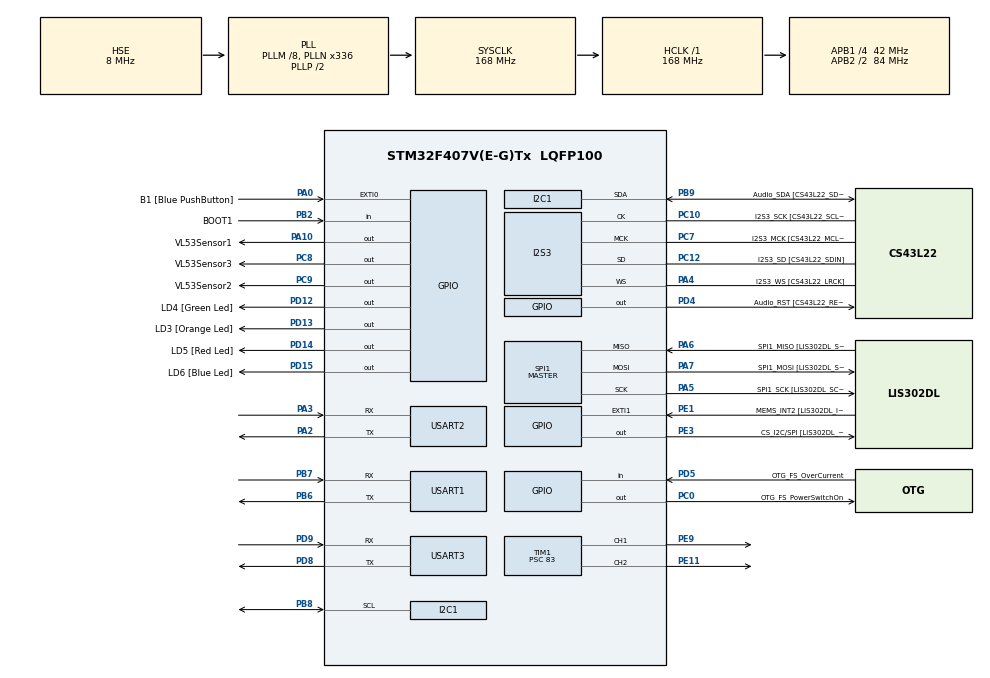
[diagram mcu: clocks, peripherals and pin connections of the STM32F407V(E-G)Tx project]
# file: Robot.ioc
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I2S3.AudioFreq-Half_Duplex_Master=I2S_AUDIOFREQ_96K
I2S3.ErrorAudioFreq=-2.34 %
I2S3.ErrorAudioFreq-Half_Duplex_Master=0.8 %
I2S3.FullDuplexMode=I2S_FULLDUPLEXMODE_DISABLE
I2S3.Instance=SPI$Index
I2S3.RealAudioFreq=93.75 KHz
I2S3.RealAudioFreq-Half_Duplex_Master=96.774 KHz
I2S3.VirtualMode=I2S_MODE_MASTER
Mcu.Family=STM32F4
Mcu.Name=STM32F407V(E-G)Tx
Mcu.Package=LQFP100
NVIC.PriorityGroup=NVIC_PRIORITYGROUP_0
PA0-WKUP.GPIO_Label=B1 [Blue PushButton]
PA0-WKUP.GPIO_ModeDefaultEXTI=GPIO_MODE_EVT_RISING
PA0-WKUP.GPIO_PuPd=GPIO_NOPULL
PA0-WKUP.Signal=GPXTI0
PA10.GPIO_Label=VL53Sensor1
PA10.Signal=GPIO_Output
PA13.Mode=Serial_Wire
PA13.Signal=SYS_JTMS-SWDIO
PA14.GPIO_Label=SWCLK
PA14.Mode=Serial_Wire
PA14.Signal=SYS_JTCK-SWCLK
PA2.Mode=Asynchronous
PA2.Signal=USART2_TX
PA3.Mode=Asynchronous
PA3.Signal=USART2_RX
PA4.GPIO_Label=I2S3_WS [CS43L22_LRCK]
PA4.GPIO_Mode=GPIO_MODE_AF_PP
PA4.GPIO_PuPd=GPIO_NOPULL
PA4.GPIO_Speed=GPIO_SPEED_FREQ_LOW
PA4.Mode=Half_Duplex_Master
PA4.Signal=I2S3_WS
PA5.GPIO_Label=SPI1_SCK [LIS302DL_SCL/SPC]
PA5.GPIO_Mode=GPIO_MODE_AF_PP
PA5.GPIO_PuPd=GPIO_NOPULL
PA5.GPIO_Speed=GPIO_SPEED_FREQ_LOW
PA5.Mode=Full_Duplex_Master
PA5.Signal=SPI1_SCK
PA6.GPIO_Label=SPI1_MISO [LIS302DL_SDO]
PA6.GPIO_Mode=GPIO_MODE_AF_PP
PA6.GPIO_PuPd=GPIO_NOPULL
PA6.GPIO_Speed=GPIO_SPEED_FREQ_LOW
PA6.Mode=Full_Duplex_Master
PA6.Signal=SPI1_MISO
PA7.GPIO_Label=SPI1_MOSI [LIS302DL_SDA/SDI/SDO]
PA7.GPIO_Mode=GPIO_MODE_AF_PP
PA7.GPIO_PuPd=GPIO_NOPULL
PA7.GPIO_Speed=GPIO_SPEED_FREQ_LOW
PA7.Mode=Full_Duplex_Master
PA7.Signal=SPI1_MOSI
PB10.GPIO_Label=CLK_IN [MP45DT02_CLK]
PB10.GPIO_Mode=GPIO_MODE_AF_PP
PB10.GPIO_PuPd=GPIO_NOPULL
PB10.GPIO_Speed=GPIO_SPEED_FREQ_LOW
PB10.Signal=I2S2_CK
PB2.GPIO_Label=BOOT1
PB2.GPIO_Mode=GPIO_MODE_INPUT
PB2.GPIO_PuPd=GPIO_NOPULL
PB2.Signal=GPIO_Input
PB3.GPIO_Label=SWO
PB3.Signal=SYS_JTDO-SWO
PB6.Mode=Asynchronous
PB6.Signal=USART1_TX
PB7.Mode=Asynchronous
PB7.Signal=USART1_RX
PB8.Mode=I2C
PB8.Signal=I2C1_SCL
PB9.GPIO_Label=Audio_SDA [CS43L22_SDA]
PB9.GPIO_Mode=GPIO_MODE_AF_OD
PB9.GPIO_Pu=GPIO_PULLUP
PB9.GPIO_PuPd=GPIO_NOPULL
PB9.GPIO_Speed=GPIO_SPEED_FREQ_LOW
PB9.Mode=I2C
PB9.Signal=I2C1_SDA
PC0.GPIO_Label=OTG_FS_PowerSwitchOn
PC0.GPIO_PuPd=GPIO_NOPULL
PC0.GPIO_Speed=GPIO_SPEED_FREQ_LOW
PC0.PinState=GPIO_PIN_SET
PC0.Signal=GPIO_Output
PC10.GPIO_Label=I2S3_SCK [CS43L22_SCLK]
PC10.GPIO_Mode=GPIO_MODE_AF_PP
PC10.GPIO_PuPd=GPIO_NOPULL
PC10.GPIO_Speed=GPIO_SPEED_FREQ_LOW
PC10.Mode=Half_Duplex_Master
PC10.Signal=I2S3_CK
PC12.GPIO_Label=I2S3_SD [CS43L22_SDIN]
PC12.GPIO_Mode=GPIO_MODE_AF_PP
PC12.GPIO_PuPd=GPIO_NOPULL
PC12.GPIO_Speed=GPIO_SPEED_FREQ_LOW
PC12.Mode=Half_Duplex_Master
PC12.Signal=I2S3_SD
PC14-OSC32_IN.GPIO_Label=PC14-OSC32_IN
PC14-OSC32_IN.Mode=LSE-External-Oscillator
PC14-OSC32_IN.Signal=RCC_OSC32_IN
PC15-OSC32_OUT.GPIO_Label=PC15-OSC32_OUT
PC15-OSC32_OUT.Mode=LSE-External-Oscillator
PC15-OSC32_OUT.Signal=RCC_OSC32_OUT
PC3.GPIO_Label=PDM_OUT [MP45DT02_DOUT]
PC3.GPIO_Mode=GPIO_MODE_AF_PP
PC3.GPIO_PuPd=GPIO_NOPULL
PC3.GPIO_Speed=GPIO_SPEED_FREQ_LOW
PC3.Signal=I2S2_SD
PC7.GPIO_Label=I2S3_MCK [CS43L22_MCLK]
PC7.GPIO_Mode=GPIO_MODE_AF_PP
PC7.GPIO_PuPd=GPIO_NOPULL
PC7.GPIO_Speed=GPIO_SPEED_FREQ_LOW
PC7.Mode=Master_Clock_Activated
PC7.Signal=I2S3_MCK
PC8.GPIO_Label=VL53Sensor3
PC8.Signal=GPIO_Output
PC9.GPIO_Label=VL53Sensor2
PC9.Signal=GPIO_Output
PD12.GPIO_Label=LD4 [Green Led]
PD12.GPIO_PuPd=GPIO_NOPULL
PD12.GPIO_Speed=GPIO_SPEED_FREQ_LOW
PD12.Signal=GPIO_Output
PD13.GPIO_Label=LD3 [Orange Led]
PD13.GPIO_PuPd=GPIO_NOPULL
PD13.GPIO_Speed=GPIO_SPEED_FREQ_LOW
PD13.Signal=GPIO_Output
PD14.GPIO_Label=LD5 [Red Led]
PD14.GPIO_PuPd=GPIO_NOPULL
PD14.GPIO_Speed=GPIO_SPEED_FREQ_LOW
PD14.Signal=GPIO_Output
PD15.GPIO_Label=LD6 [Blue Led]
PD15.GPIO_PuPd=GPIO_NOPULL
PD15.GPIO_Speed=GPIO_SPEED_FREQ_LOW
PD15.Signal=GPIO_Output
PD4.GPIO_Label=Audio_RST [CS43L22_RESET]
PD4.GPIO_PuPd=GPIO_NOPULL
PD4.GPIO_Speed=GPIO_SPEED_FREQ_LOW
PD4.Signal=GPIO_Output
PD5.GPIO_Label=OTG_FS_OverCurrent
PD5.GPIO_Mode=GPIO_MODE_INPUT
PD5.GPIO_PuPd=GPIO_NOPULL
PD5.Signal=GPIO_Input
PD8.Mode=Asynchronous
PD8.Signal=USART3_TX
PD9.Mode=Asynchronous
PD9.Signal=USART3_RX
PE1.GPIO_Label=MEMS_INT2 [LIS302DL_INT2]
PE1.GPIO_ModeDefaultEXTI=GPIO_MODE_EVT_RISING
PE1.GPIO_PuPd=GPIO_NOPULL
PE1.Signal=GPXTI1
PE11.Signal=S_TIM1_CH2
PE3.GPIO_Label=CS_I2C/SPI [LIS302DL_CS_I2C/SPI]
PE3.GPIO_PuPd=GPIO_NOPULL
PE3.GPIO_Speed=GPIO_SPEED_FREQ_LOW
PE3.Signal=GPIO_Output
PE9.Signal=S_TIM1_CH1
PH0-OSC_IN.GPIO_Label=PH0-OSC_IN
PH0-OSC_IN.Mode=HSE-External-Oscillator
PH0-OSC_IN.Signal=RCC_OSC_IN
PH1-OSC_OUT.GPIO_Label=PH1-OSC_OUT
PH1-OSC_OUT.Mode=HSE-External-Oscillator
PH1-OSC_OUT.Signal=RCC_OSC_OUT
ProjectManager.HeapSize=0x200
ProjectManager.StackSize=0x400
ProjectManager.TargetToolchain=STM32CubeIDE
RCC.48MHZClocksFreq_Value=48000000
RCC.AHBFreq_Value=168000000
RCC.APB1CLKDivider=RCC_HCLK_DIV4
RCC.APB1Freq_Value=42000000
RCC.APB1TimFreq_Value=84000000
RCC.APB2CLKDivider=RCC_HCLK_DIV2
RCC.APB2Freq_Value=84000000
RCC.APB2TimFreq_Value=168000000
RCC.CortexFreq_Value=168000000
RCC.HCLKFreq_Value=168000000
RCC.HSE_VALUE=8000000
RCC.HSI_VALUE=16000000
RCC.PLLM=8
RCC.PLLN=336
RCC.PLLQ=7
RCC.PLLSourceVirtual=RCC_PLLSOURCE_HSE
RCC.SYSCLKFreq_VALUE=168000000
RCC.SYSCLKSource=RCC_SYSCLKSOURCE_PLLCLK
RCC.VCOOutputFreq_Value=336000000
SH.S_TIM1_CH1.0=TIM1_CH1,PWM Generation1 CH1
SH.S_TIM1_CH2.0=TIM1_CH2,PWM Generation2 CH2
SPI1.BaudRatePrescaler-Full_Duplex_Master=SPI_BAUDRATEPRESCALER_2
SPI1.CalculateBaudRate-Full_Duplex_Master=42.0 MBits/s
SPI1.Direction=SPI_DIRECTION_2LINES
SPI1.Mode=SPI_MODE_MASTER
SPI1.Mode-Full_Duplex_Master=SPI_MODE_MASTER
SPI1.VirtualType=VM_MASTER
TIM1.Channel-PWM\ Generation1\ CH1=TIM_CHANNEL_1
TIM1.Channel-PWM\ Generation2\ CH2=TIM_CHANNEL_2
TIM1.Period=49
TIM1.Prescaler=83
USART1.VirtualMode=VM_ASYNC
USART2.VirtualMode=VM_ASYNC
USART3.VirtualMode=VM_ASYNC
board=STM32F407G-DISC1

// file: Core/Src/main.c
/* USER CODE BEGIN Header */
/**
  ******************************************************************************
  * @file           : main.c
  * @brief          : Main program body
  ******************************************************************************
  * @attention
  *
  * Copyright (c) 2026 STMicroelectronics.
  * All rights reserved.
  *
  * This software is licensed under terms that can be found in the LICENSE file
  * in the root directory of this software component.
  * If no LICENSE file comes with this software, it is provided AS-IS.
  *
  ******************************************************************************
  */
/* USER CODE END Header */
#include "main.h"

I2C_HandleTypeDef hi2c1;

I2S_HandleTypeDef hi2s3;

SPI_HandleTypeDef hspi1;

TIM_HandleTypeDef htim1;

UART_HandleTypeDef huart1;
UART_HandleTypeDef huart2;
UART_HandleTypeDef huart3;

void SystemClock_Config(void);
static void MX_GPIO_Init(void);
static void MX_I2S3_Init(void);
static void MX_SPI1_Init(void);
static void MX_TIM1_Init(void);
static void MX_USART1_UART_Init(void);
static void MX_USART2_UART_Init(void);
static void MX_USART3_UART_Init(void);
static void MX_I2C1_Init(void);

/* USER CODE BEGIN 0 */
/* USER CODE BEGIN 0 */
#include <stdint.h>

#define VL53_ADDR_7BIT   (0x29)
#define VL53_ADDR_8BIT   (VL53_ADDR_7BIT << 1)

static uint8_t i2c_find_first_device(I2C_HandleTypeDef *hi2c)
{
    for (uint8_t addr = 1; addr < 127; addr++)
    {
        if (HAL_I2C_IsDeviceReady(hi2c, (uint16_t)(addr << 1), 2, 10) == HAL_OK)
            return addr;
    }
    return 0; // none found
}

static HAL_StatusTypeDef vl53_read8(I2C_HandleTypeDef *hi2c, uint16_t reg, uint8_t *val)
{
    return HAL_I2C_Mem_Read(hi2c, VL53_ADDR_8BIT, reg, I2C_MEMADD_SIZE_16BIT, val, 1, 100);
}
/* USER CODE END 0 */

int main(void)
{

  /* MCU Configuration--------------------------------------------------------*/

  /* Reset of all peripherals, Initializes the Flash interface and the Systick. */
  HAL_Init();

  /* Configure the system clock */
  SystemClock_Config();

  /* Initialize all configured peripherals */
  MX_GPIO_Init();
  MX_I2S3_Init();
  MX_SPI1_Init();
  MX_TIM1_Init();
  MX_USART1_UART_Init();
  MX_USART2_UART_Init();
  MX_USART3_UART_Init();
  MX_I2C1_Init();
  /* USER CODE BEGIN 2 */
  /* USER CODE BEGIN 2 */
  HAL_GPIO_WritePin(VL53Sensor1_GPIO_Port, VL53Sensor1_Pin, GPIO_PIN_SET);
  HAL_Delay(10);  // wait for sensor to boot

  volatile uint8_t found_addr = 0;
  volatile uint8_t model_id = 0;
  volatile uint8_t module_type = 0;
  volatile HAL_StatusTypeDef st_model = HAL_ERROR;
  volatile HAL_StatusTypeDef st_type  = HAL_ERROR;

  // Scan I2C bus
  found_addr = i2c_find_first_device(&hi2c1);

  // If VL53L1X is present at 0x29, read a couple ID registers
  if (found_addr == VL53_ADDR_7BIT)
  {
      st_model = vl53_read8(&hi2c1, 0x010F, (uint8_t*)&model_id);
      st_type  = vl53_read8(&hi2c1, 0x0110, (uint8_t*)&module_type);
  }

  // Put a breakpoint on the next line and inspect variables in Debug:
  // found_addr should be 0x29
  // st_model and st_type should be HAL_OK
  // model_id / module_type should be non-zero
  __NOP();

  /* USER CODE END 2 */

  /* Infinite loop */
  while (1)
  {

  }
}

void SystemClock_Config(void)
{
  RCC_OscInitTypeDef RCC_OscInitStruct = {0};
  RCC_ClkInitTypeDef RCC_ClkInitStruct = {0};

  /** Configure the main internal regulator output voltage
  */
  __HAL_RCC_PWR_CLK_ENABLE();
  __HAL_PWR_VOLTAGESCALING_CONFIG(PWR_REGULATOR_VOLTAGE_SCALE1);

  /** Initializes the RCC Oscillators according to the specified parameters
  * in the RCC_OscInitTypeDef structure.
  */
  RCC_OscInitStruct.OscillatorType = RCC_OSCILLATORTYPE_HSE;
  RCC_OscInitStruct.HSEState = RCC_HSE_ON;
  RCC_OscInitStruct.PLL.PLLState = RCC_PLL_ON;
  RCC_OscInitStruct.PLL.PLLSource = RCC_PLLSOURCE_HSE;
  RCC_OscInitStruct.PLL.PLLM = 8;
  RCC_OscInitStruct.PLL.PLLN = 336;
  RCC_OscInitStruct.PLL.PLLP = RCC_PLLP_DIV2;
  RCC_OscInitStruct.PLL.PLLQ = 7;
  if (HAL_RCC_OscConfig(&RCC_OscInitStruct) != HAL_OK)
  {
    Error_Handler();
  }

  /** Initializes the CPU, AHB and APB buses clocks
  */
  RCC_ClkInitStruct.ClockType = RCC_CLOCKTYPE_HCLK|RCC_CLOCKTYPE_SYSCLK
                              |RCC_CLOCKTYPE_PCLK1|RCC_CLOCKTYPE_PCLK2;
  RCC_ClkInitStruct.SYSCLKSource = RCC_SYSCLKSOURCE_PLLCLK;
  RCC_ClkInitStruct.AHBCLKDivider = RCC_SYSCLK_DIV1;
  RCC_ClkInitStruct.APB1CLKDivider = RCC_HCLK_DIV4;
  RCC_ClkInitStruct.APB2CLKDivider = RCC_HCLK_DIV2;

  if (HAL_RCC_ClockConfig(&RCC_ClkInitStruct, FLASH_LATENCY_5) != HAL_OK)
  {
    Error_Handler();
  }
}

static void MX_I2C1_Init(void)
{

  hi2c1.Instance = I2C1;
  hi2c1.Init.ClockSpeed = 100000;
  hi2c1.Init.DutyCycle = I2C_DUTYCYCLE_2;
  hi2c1.Init.OwnAddress1 = 0;
  hi2c1.Init.AddressingMode = I2C_ADDRESSINGMODE_7BIT;
  hi2c1.Init.DualAddressMode = I2C_DUALADDRESS_DISABLE;
  hi2c1.Init.OwnAddress2 = 0;
  hi2c1.Init.GeneralCallMode = I2C_GENERALCALL_DISABLE;
  hi2c1.Init.NoStretchMode = I2C_NOSTRETCH_DISABLE;
  if (HAL_I2C_Init(&hi2c1) != HAL_OK)
  {
    Error_Handler();
  }

}

static void MX_I2S3_Init(void)
{

  hi2s3.Instance = SPI3;
  hi2s3.Init.Mode = I2S_MODE_MASTER_TX;
  hi2s3.Init.Standard = I2S_STANDARD_PHILIPS;
  hi2s3.Init.DataFormat = I2S_DATAFORMAT_16B;
  hi2s3.Init.MCLKOutput = I2S_MCLKOUTPUT_ENABLE;
  hi2s3.Init.AudioFreq = I2S_AUDIOFREQ_96K;
  hi2s3.Init.CPOL = I2S_CPOL_LOW;
  hi2s3.Init.ClockSource = I2S_CLOCK_PLL;
  hi2s3.Init.FullDuplexMode = I2S_FULLDUPLEXMODE_DISABLE;
  if (HAL_I2S_Init(&hi2s3) != HAL_OK)
  {
    Error_Handler();
  }

}

static void MX_SPI1_Init(void)
{

  /* SPI1 parameter configuration*/
  hspi1.Instance = SPI1;
  hspi1.Init.Mode = SPI_MODE_MASTER;
  hspi1.Init.Direction = SPI_DIRECTION_2LINES;
  hspi1.Init.DataSize = SPI_DATASIZE_8BIT;
  hspi1.Init.CLKPolarity = SPI_POLARITY_LOW;
  hspi1.Init.CLKPhase = SPI_PHASE_1EDGE;
  hspi1.Init.NSS = SPI_NSS_SOFT;
  hspi1.Init.BaudRatePrescaler = SPI_BAUDRATEPRESCALER_2;
  hspi1.Init.FirstBit = SPI_FIRSTBIT_MSB;
  hspi1.Init.TIMode = SPI_TIMODE_DISABLE;
  hspi1.Init.CRCCalculation = SPI_CRCCALCULATION_DISABLE;
  hspi1.Init.CRCPolynomial = 10;
  if (HAL_SPI_Init(&hspi1) != HAL_OK)
  {
    Error_Handler();
  }

}

static void MX_TIM1_Init(void)
{

  TIM_MasterConfigTypeDef sMasterConfig = {0};
  TIM_OC_InitTypeDef sConfigOC = {0};
  TIM_BreakDeadTimeConfigTypeDef sBreakDeadTimeConfig = {0};

  htim1.Instance = TIM1;
  htim1.Init.Prescaler = 83;
  htim1.Init.CounterMode = TIM_COUNTERMODE_UP;
  htim1.Init.Period = 49;
  htim1.Init.ClockDivision = TIM_CLOCKDIVISION_DIV1;
  htim1.Init.RepetitionCounter = 0;
  htim1.Init.AutoReloadPreload = TIM_AUTORELOAD_PRELOAD_DISABLE;
  if (HAL_TIM_PWM_Init(&htim1) != HAL_OK)
  {
    Error_Handler();
  }
  sMasterConfig.MasterOutputTrigger = TIM_TRGO_RESET;
  sMasterConfig.MasterSlaveMode = TIM_MASTERSLAVEMODE_DISABLE;
  if (HAL_TIMEx_MasterConfigSynchronization(&htim1, &sMasterConfig) != HAL_OK)
  {
    Error_Handler();
  }
  sConfigOC.OCMode = TIM_OCMODE_PWM1;
  sConfigOC.Pulse = 0;
  sConfigOC.OCPolarity = TIM_OCPOLARITY_HIGH;
  sConfigOC.OCNPolarity = TIM_OCNPOLARITY_HIGH;
  sConfigOC.OCFastMode = TIM_OCFAST_DISABLE;
  sConfigOC.OCIdleState = TIM_OCIDLESTATE_RESET;
  sConfigOC.OCNIdleState = TIM_OCNIDLESTATE_RESET;
  if (HAL_TIM_PWM_ConfigChannel(&htim1, &sConfigOC, TIM_CHANNEL_1) != HAL_OK)
  {
    Error_Handler();
  }
  if (HAL_TIM_PWM_ConfigChannel(&htim1, &sConfigOC, TIM_CHANNEL_2) != HAL_OK)
  {
    Error_Handler();
  }
  sBreakDeadTimeConfig.OffStateRunMode = TIM_OSSR_DISABLE;
  sBreakDeadTimeConfig.OffStateIDLEMode = TIM_OSSI_DISABLE;
  sBreakDeadTimeConfig.LockLevel = TIM_LOCKLEVEL_OFF;
  sBreakDeadTimeConfig.DeadTime = 0;
  sBreakDeadTimeConfig.BreakState = TIM_BREAK_DISABLE;
  sBreakDeadTimeConfig.BreakPolarity = TIM_BREAKPOLARITY_HIGH;
  sBreakDeadTimeConfig.AutomaticOutput = TIM_AUTOMATICOUTPUT_DISABLE;
  if (HAL_TIMEx_ConfigBreakDeadTime(&htim1, &sBreakDeadTimeConfig) != HAL_OK)
  {
    Error_Handler();
  }
  HAL_TIM_MspPostInit(&htim1);

}

static void MX_USART1_UART_Init(void)
{

  huart1.Instance = USART1;
  huart1.Init.BaudRate = 115200;
  huart1.Init.WordLength = UART_WORDLENGTH_8B;
  huart1.Init.StopBits = UART_STOPBITS_1;
  huart1.Init.Parity = UART_PARITY_NONE;
  huart1.Init.Mode = UART_MODE_TX_RX;
  huart1.Init.HwFlowCtl = UART_HWCONTROL_NONE;
  huart1.Init.OverSampling = UART_OVERSAMPLING_16;
  if (HAL_UART_Init(&huart1) != HAL_OK)
  {
    Error_Handler();
  }

}

static void MX_USART2_UART_Init(void)
{

  huart2.Instance = USART2;
  huart2.Init.BaudRate = 115200;
  huart2.Init.WordLength = UART_WORDLENGTH_8B;
  huart2.Init.StopBits = UART_STOPBITS_1;
  huart2.Init.Parity = UART_PARITY_NONE;
  huart2.Init.Mode = UART_MODE_TX_RX;
  huart2.Init.HwFlowCtl = UART_HWCONTROL_NONE;
  huart2.Init.OverSampling = UART_OVERSAMPLING_16;
  if (HAL_UART_Init(&huart2) != HAL_OK)
  {
    Error_Handler();
  }

}

static void MX_USART3_UART_Init(void)
{

  huart3.Instance = USART3;
  huart3.Init.BaudRate = 115200;
  huart3.Init.WordLength = UART_WORDLENGTH_8B;
  huart3.Init.StopBits = UART_STOPBITS_1;
  huart3.Init.Parity = UART_PARITY_NONE;
  huart3.Init.Mode = UART_MODE_TX_RX;
  huart3.Init.HwFlowCtl = UART_HWCONTROL_NONE;
  huart3.Init.OverSampling = UART_OVERSAMPLING_16;
  if (HAL_UART_Init(&huart3) != HAL_OK)
  {
    Error_Handler();
  }

}

static void MX_GPIO_Init(void)
{
  GPIO_InitTypeDef GPIO_InitStruct = {0};

  /* GPIO Ports Clock Enable */
  __HAL_RCC_GPIOE_CLK_ENABLE();
  __HAL_RCC_GPIOC_CLK_ENABLE();
  __HAL_RCC_GPIOH_CLK_ENABLE();
  __HAL_RCC_GPIOA_CLK_ENABLE();
  __HAL_RCC_GPIOB_CLK_ENABLE();
  __HAL_RCC_GPIOD_CLK_ENABLE();

  /*Configure GPIO pin Output Level */
  HAL_GPIO_WritePin(CS_I2C_SPI_GPIO_Port, CS_I2C_SPI_Pin, GPIO_PIN_RESET);

  /*Configure GPIO pin Output Level */
  HAL_GPIO_WritePin(OTG_FS_PowerSwitchOn_GPIO_Port, OTG_FS_PowerSwitchOn_Pin, GPIO_PIN_SET);

  /*Configure GPIO pin Output Level */
  HAL_GPIO_WritePin(GPIOD, LD4_Pin|LD3_Pin|LD5_Pin|LD6_Pin
                          |Audio_RST_Pin, GPIO_PIN_RESET);

  /*Configure GPIO pin Output Level */
  HAL_GPIO_WritePin(GPIOC, VL53Sensor3_Pin|VL53Sensor2_Pin, GPIO_PIN_RESET);

  /*Configure GPIO pin Output Level */
  HAL_GPIO_WritePin(VL53Sensor1_GPIO_Port, VL53Sensor1_Pin, GPIO_PIN_RESET);

  /*Configure GPIO pin : CS_I2C_SPI_Pin */
  GPIO_InitStruct.Pin = CS_I2C_SPI_Pin;
  GPIO_InitStruct.Mode = GPIO_MODE_OUTPUT_PP;
  GPIO_InitStruct.Pull = GPIO_NOPULL;
  GPIO_InitStruct.Speed = GPIO_SPEED_FREQ_LOW;
  HAL_GPIO_Init(CS_I2C_SPI_GPIO_Port, &GPIO_InitStruct);

  /*Configure GPIO pins : OTG_FS_PowerSwitchOn_Pin VL53Sensor3_Pin VL53Sensor2_Pin */
  GPIO_InitStruct.Pin = OTG_FS_PowerSwitchOn_Pin|VL53Sensor3_Pin|VL53Sensor2_Pin;
  GPIO_InitStruct.Mode = GPIO_MODE_OUTPUT_PP;
  GPIO_InitStruct.Pull = GPIO_NOPULL;
  GPIO_InitStruct.Speed = GPIO_SPEED_FREQ_LOW;
  HAL_GPIO_Init(GPIOC, &GPIO_InitStruct);

  /*Configure GPIO pin : PDM_OUT_Pin */
  GPIO_InitStruct.Pin = PDM_OUT_Pin;
  GPIO_InitStruct.Mode = GPIO_MODE_AF_PP;
  GPIO_InitStruct.Pull = GPIO_NOPULL;
  GPIO_InitStruct.Speed = GPIO_SPEED_FREQ_LOW;
  GPIO_InitStruct.Alternate = GPIO_AF5_SPI2;
  HAL_GPIO_Init(PDM_OUT_GPIO_Port, &GPIO_InitStruct);

  /*Configure GPIO pin : B1_Pin */
  GPIO_InitStruct.Pin = B1_Pin;
  GPIO_InitStruct.Mode = GPIO_MODE_EVT_RISING;
  GPIO_InitStruct.Pull = GPIO_NOPULL;
  HAL_GPIO_Init(B1_GPIO_Port, &GPIO_InitStruct);

  /*Configure GPIO pin : BOOT1_Pin */
  GPIO_InitStruct.Pin = BOOT1_Pin;
  GPIO_InitStruct.Mode = GPIO_MODE_INPUT;
  GPIO_InitStruct.Pull = GPIO_NOPULL;
  HAL_GPIO_Init(BOOT1_GPIO_Port, &GPIO_InitStruct);

  /*Configure GPIO pin : CLK_IN_Pin */
  GPIO_InitStruct.Pin = CLK_IN_Pin;
  GPIO_InitStruct.Mode = GPIO_MODE_AF_PP;
  GPIO_InitStruct.Pull = GPIO_NOPULL;
  GPIO_InitStruct.Speed = GPIO_SPEED_FREQ_LOW;
  GPIO_InitStruct.Alternate = GPIO_AF5_SPI2;
  HAL_GPIO_Init(CLK_IN_GPIO_Port, &GPIO_InitStruct);

  /*Configure GPIO pins : LD4_Pin LD3_Pin LD5_Pin LD6_Pin
                           Audio_RST_Pin */
  GPIO_InitStruct.Pin = LD4_Pin|LD3_Pin|LD5_Pin|LD6_Pin
                          |Audio_RST_Pin;
  GPIO_InitStruct.Mode = GPIO_MODE_OUTPUT_PP;
  GPIO_InitStruct.Pull = GPIO_NOPULL;
  GPIO_InitStruct.Speed = GPIO_SPEED_FREQ_LOW;
  HAL_GPIO_Init(GPIOD, &GPIO_InitStruct);

  /*Configure GPIO pin : VL53Sensor1_Pin */
  GPIO_InitStruct.Pin = VL53Sensor1_Pin;
  GPIO_InitStruct.Mode = GPIO_MODE_OUTPUT_PP;
  GPIO_InitStruct.Pull = GPIO_NOPULL;
  GPIO_InitStruct.Speed = GPIO_SPEED_FREQ_LOW;
  HAL_GPIO_Init(VL53Sensor1_GPIO_Port, &GPIO_InitStruct);

  /*Configure GPIO pin : OTG_FS_OverCurrent_Pin */
  GPIO_InitStruct.Pin = OTG_FS_OverCurrent_Pin;
  GPIO_InitStruct.Mode = GPIO_MODE_INPUT;
  GPIO_InitStruct.Pull = GPIO_NOPULL;
  HAL_GPIO_Init(OTG_FS_OverCurrent_GPIO_Port, &GPIO_InitStruct);

  /*Configure GPIO pin : MEMS_INT2_Pin */
  GPIO_InitStruct.Pin = MEMS_INT2_Pin;
  GPIO_InitStruct.Mode = GPIO_MODE_EVT_RISING;
  GPIO_InitStruct.Pull = GPIO_NOPULL;
  HAL_GPIO_Init(MEMS_INT2_GPIO_Port, &GPIO_InitStruct);

}

void Error_Handler(void)
{
  __disable_irq();
  while (1)
  {
  }
}
